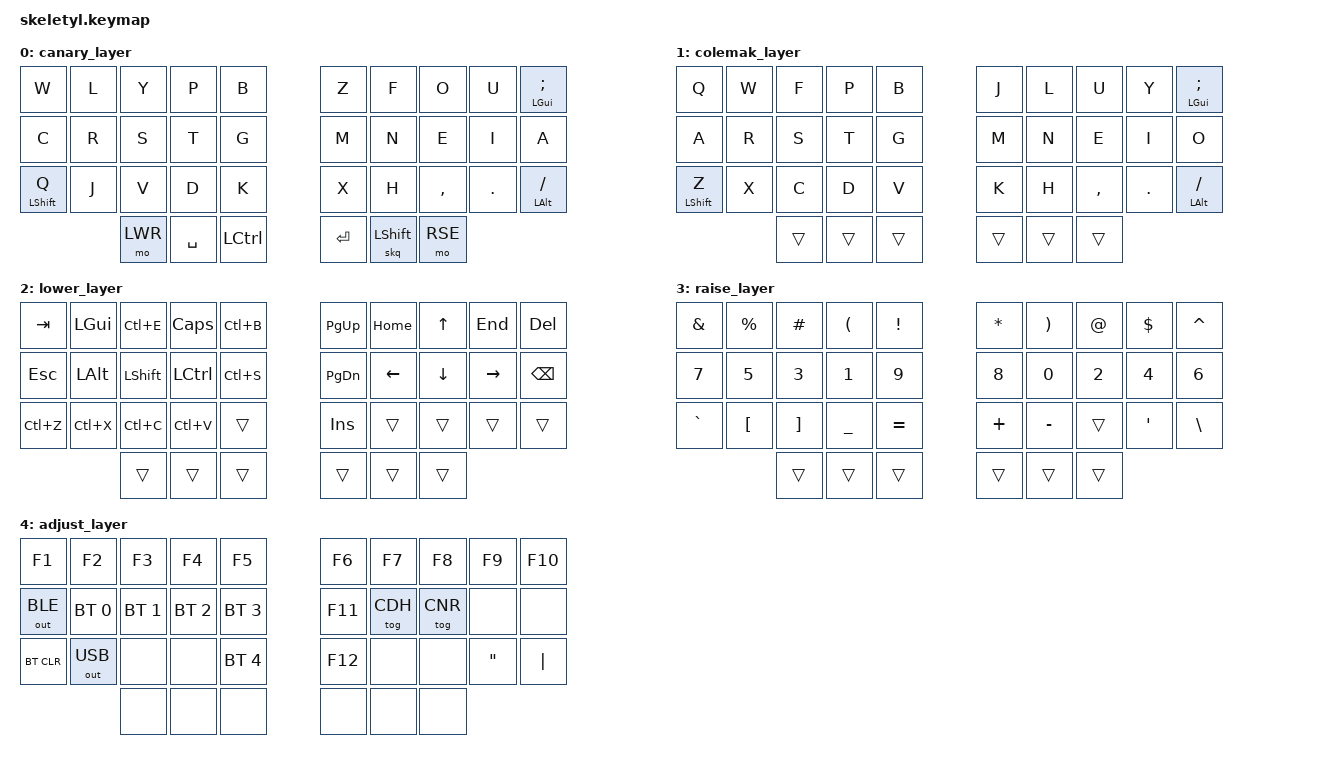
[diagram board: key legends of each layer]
#include <behaviors.dtsi>
#include <dt-bindings/zmk/keys.h>
#include <dt-bindings/zmk/modifiers.h>
#include <dt-bindings/zmk/bt.h>
#include <dt-bindings/zmk/outputs.h>

#define CNR 0
#define CDH 1
#define LWR 2
#define RSE 3
#define ADJ 4

/ {
  behaviors {
    skq: sticky_key_quick_release {
		compatible = "zmk,behavior-sticky-key";
		label = "STICKY_KEY_QUICK_RELEASE";
		#binding-cells = <1>;
		bindings = <&kp>;
		release-after-ms = <500>;
		quick-release;
    };
	pht: positional_hold_tap {
		compatible = "zmk,behavior-hold-tap";
		label = "POSITIONAL_HOLD_TAP";
		#binding-cells = <2>;
		flavor = "hold-preferred";
		tapping-term-ms = <200>;
		quick-tap-ms = <200>;
		bindings = <&kp>, <&kp>;
	};
  };

    conditional_layers {
        compatible = "zmk,conditional-layers";
        tri_layer {
            if-layers = <2 3>;
            then-layer = <4>;
        };
    };

    keymap {
        compatible = "zmk,keymap";
		
        canary_layer {
            bindings = <
                &kp W  &kp L   &kp Y  &kp P  &kp B                                  &kp Z  &kp F  &kp O     &kp U   &pht LGUI SEMI
                &kp C  &kp R   &kp S  &kp T  &kp G                                  &kp M  &kp N  &kp E     &kp I   &kp A
          &pht LSHFT Q &kp J   &kp V  &kp D  &kp K                                  &kp X  &kp H  &kp COMMA &kp DOT &pht LALT FSLH
                               &mo LWR &kp SPACE &kp LCTRL                     &kp RET &skq LSHFT &mo RSE
            >;
        };		

        colemak_layer {
            bindings = <
                &kp Q  &kp W   &kp F  &kp P  &kp B                                  &kp J  &kp L  &kp U     &kp Y   &pht LGUI SEMI
                &kp A  &kp R   &kp S  &kp T  &kp G                                  &kp M  &kp N  &kp E     &kp I   &kp O
          &pht LSHFT Z &kp X   &kp C  &kp D  &kp V                                  &kp K  &kp H  &kp COMMA &kp DOT &pht LALT FSLH
                               &trans    &trans    &trans                     &trans    &trans    &trans
            >;
        };

        lower_layer {
            bindings = <
                &kp TAB   &kp LGUI  &kp LC(E) &kp CAPS  &kp LC(B)      &kp PG_UP &kp HOME  &kp UP    &kp END   &kp DEL
                &kp ESC   &kp LALT  &kp LSHFT &kp LCTRL &kp LC(S)      &kp PG_DN &kp LEFT  &kp DOWN  &kp RIGHT &kp BSPC
                &kp LC(Z) &kp LC(X) &kp LC(C) &kp LC(V) &trans         &kp INS   &trans    &trans    &trans    &trans
                                    &trans    &trans    &trans         &trans    &trans    &trans
            >;
        };

        raise_layer {
            bindings = <
    &kp AMPS  &kp PRCNT &kp HASH   &kp LPAR  &kp EXCL                      &kp ASTRK &kp RPAR  &kp AT    &kp DLLR  &kp CARET
    &kp N7    &kp N5    &kp N3     &kp N1    &kp N9                        &kp N8    &kp N0    &kp N2    &kp N4    &kp N6
    &kp GRAVE &kp LBKT  &kp RBKT   &kp UNDER &kp EQUAL                     &kp PLUS  &kp MINUS &trans    &kp SQT   &kp BSLH
                        &trans     &trans    &trans                        &trans    &trans    &trans
            >;
        };

        adjust_layer {
            bindings = <
    &kp F1        &kp F2       &kp F3       &kp F4        &kp F5                        &kp F6  &kp F7   &kp F8   &kp F9   &kp F10
    &out OUT_BLE  &bt BT_SEL 0 &bt BT_SEL 1 &bt BT_SEL 2  &bt BT_SEL 3                  &kp F11 &tog CDH &tog CNR &none    &none
    &bt BT_CLR    &out OUT_USB &none        &none         &bt BT_SEL 4                  &kp F12 &none    &none    &kp DQT  &kp PIPE 
                               &none        &none         &none                         &none   &none    &none 
            >;
        };
    };
};
